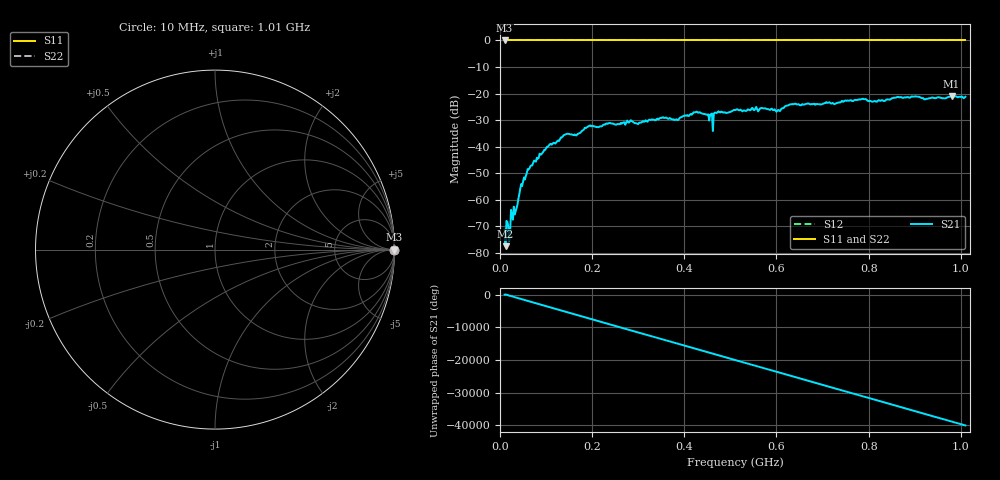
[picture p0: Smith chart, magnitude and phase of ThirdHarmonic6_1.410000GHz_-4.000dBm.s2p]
! 8/16/2025 4:09:29 PM
! C:\ANRITSUVNA\TEMP\TEMP.S2P
! CHANNEL.1
! TR.MEASUREMENT
! RAW.DATA
! RF.CORRECTION.OFF
! AVERAGING.OFF
! IF.BANDWIDTH: 5KHZ
! SWEEPTYPE:  FREQ.SWEEP(Linear)
! Reference Plane Port Info
! PORT:  PORT1  PORT2
! DISTANCE:  0  m  0  m
! TIME:  0  s  0  s
! PHASE.OFFSET:  0  deg.  0  deg.
! LOSS:  0  dB  0  dB
! REF.LOSS:  0  dB  0  dB
! REF.FREQ:  0  Hz  0  Hz
! Power Info
! POWER:  -20  dBm  -20  dBm
! EFF.POWER:  -20  dBm  -20  dBm
! SOURCE.ATTEN:  0  dB  0  dB
! TEST.ATTEN:  0  dB  0  dB
# GHZ S RI R 50.0
! FREQ.GHZ  S11RE  S11IM  S21RE  S21IM  S12RE  S12IM  S22RE  S22IM
!; PortSelection: Port_12
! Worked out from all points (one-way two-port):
!   501 points, 10 MHz to 1.01 GHz, reference 50 ohm
!   highest |S21| = -20.97 dB at 980 MHz (marker M1); lowest = -77.5 dB at 12 MHz (marker M2)
!   lowest |S11| = 0.0 dB at 10 MHz (marker M3)
!   |S11| at or under -10 dB: nowhere
!   |S22| runs from 0.0 to 0.0 dB; largest |S21 - S12| = 1.1
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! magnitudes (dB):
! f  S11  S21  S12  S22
! 10 MHz  0.0  -71.3  0.0  0.0
! 12 MHz  0.0  -77.5  0.0  0.0
! 24 MHz  0.0  -63.8  0.0  0.0
! 28 MHz  0.0  -67.5  0.0  0.0
! 36 MHz  0.0  -63.1  0.0  0.0
! 48 MHz  0.0  -54.9  0.0  0.0
! 70 MHz  0.0  -47.1  0.0  0.0
! 140 MHz  0.0  -35.6  0.0  0.0
! 178 MHz  0.0  -34.0  0.0  0.0
! 196 MHz  0.0  -32.0  0.0  0.0
! 344 MHz  0.0  -29.8  0.0  0.0
! 384 MHz  0.0  -29.8  0.0  0.0
! 424 MHz  0.0  -27.0  0.0  0.0
! 458 MHz  0.0  -27.7  0.0  0.0
! 470 MHz  0.0  -27.4  0.0  0.0
! 510 MHz  0.0  -26.2  0.0  0.0
! 604 MHz  0.0  -26.2  0.0  0.0
! 630 MHz  0.0  -24.0  0.0  0.0
! 678 MHz  0.0  -24.0  0.0  0.0
! 844 MHz  0.0  -22.3  0.0  0.0
! 980 MHz  0.0  -21.0  0.0  0.0
! 1.01 GHz  0.0  -21.2  0.0  0.0
